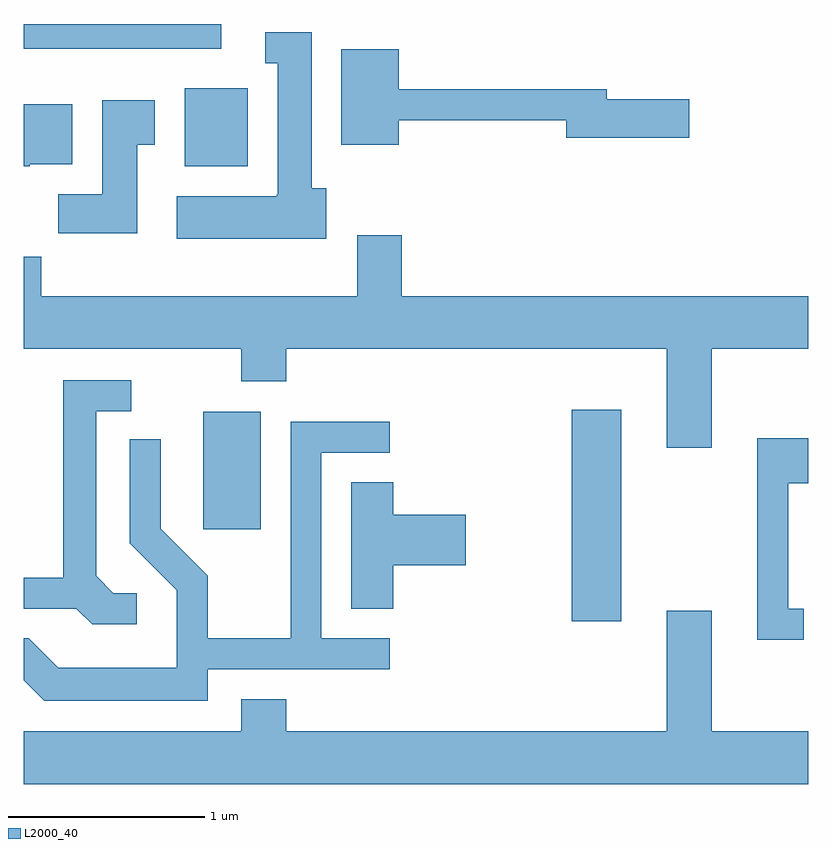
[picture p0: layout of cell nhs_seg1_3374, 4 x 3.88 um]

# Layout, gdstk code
import gdstk
lib = gdstk.Library(unit=1e-6, precision=1e-09)
def R(c, l, rs):  # rectangles x0, y0, x1, y1
    for r in rs: c.add(gdstk.rectangle(r[:2], r[2:], *l))
def P(c, l, *ps):  # polygons
    for p in ps: c.add(gdstk.Polygon(p, *l))
L2000_40 = (2000, 40)

nhs_seg1_3374 = lib.new_cell('nhs_seg1_3374')
R(nhs_seg1_3374, L2000_40, [(290.406,862.666,290.659,863.744), (288.526,863.136,288.819,863.734), (288.431,864.986,288.754,865.384), (287.611,865.586,288.619,865.712)])
P(nhs_seg1_3374, L2000_40, [(289.154,864.874),(289.079,864.874),(289.079,865.669),(288.843,865.669),(288.843,865.511),(288.906,865.511),(288.906,864.84),(288.9,864.84),(288.9,864.834),(288.391,864.834),(288.391,864.616),(289.154,864.616)],
  [(289.524,865.221),(290.376,865.221),(290.376,865.131),(291.004,865.131),(291.004,865.329),(290.584,865.329),(290.584,865.379),(289.524,865.379),(289.524,865.584),(289.231,865.584),(289.231,865.096),(289.524,865.096)],
  [(288.189,865.096),(288.279,865.096),(288.279,865.324),(288.011,865.324),(288.011,864.844),(287.786,864.844),(287.786,864.646),(288.189,864.646)],
  [(287.64,864.996),(287.859,864.996),(287.859,865.304),(287.611,865.304),(287.611,864.986),(287.64,864.986)],
  [(291.119,864.056),(291.611,864.056),(291.611,864.324),(289.539,864.324),(289.539,864.634),(289.311,864.634),(289.311,864.324),(287.699,864.324),(287.699,864.524),(287.611,864.524),(287.611,864.056),(288.721,864.056),(288.721,863.891),(288.949,863.891),(288.949,864.056),(290.891,864.056),(290.891,863.551),(291.119,863.551)],
  [(288.188,862.809),(288.067,862.809),(287.979,862.897),(287.979,863.736),(288.158,863.736),(288.158,863.894),(287.811,863.894),(287.811,862.889),(287.611,862.889),(287.611,862.731),(287.879,862.731),(287.959,862.651),(288.188,862.651)],
  [(288.549,862.421),(289.478,862.421),(289.478,862.579),(289.129,862.579),(289.129,863.526),(289.478,863.526),(289.478,863.684),(288.971,863.684),(288.971,862.579),(288.549,862.579),(288.549,862.897),(288.309,863.137),(288.309,863.593),(288.151,863.593),(288.151,863.064),(288.391,862.824),(288.391,862.429),(287.787,862.429),(287.637,862.579),(287.611,862.579),(287.611,862.364),(287.714,862.261),(288.549,862.261)],
  [(291.588,862.729),(291.509,862.729),(291.509,863.371),(291.611,863.371),(291.611,863.599),(291.351,863.599),(291.351,862.571),(291.588,862.571)],
  [(289.494,862.951),(289.864,862.951),(289.864,863.209),(289.494,863.209),(289.494,863.374),(289.281,863.374),(289.281,862.731),(289.494,862.731)],
  [(291.611,862.104),(291.119,862.104),(291.119,862.719),(290.891,862.719),(290.891,862.104),(288.949,862.104),(288.949,862.269),(288.721,862.269),(288.721,862.104),(287.611,862.104),(287.611,861.836),(291.611,861.836)])

lib.write_gds('nhs_seg1_3374.gds')
